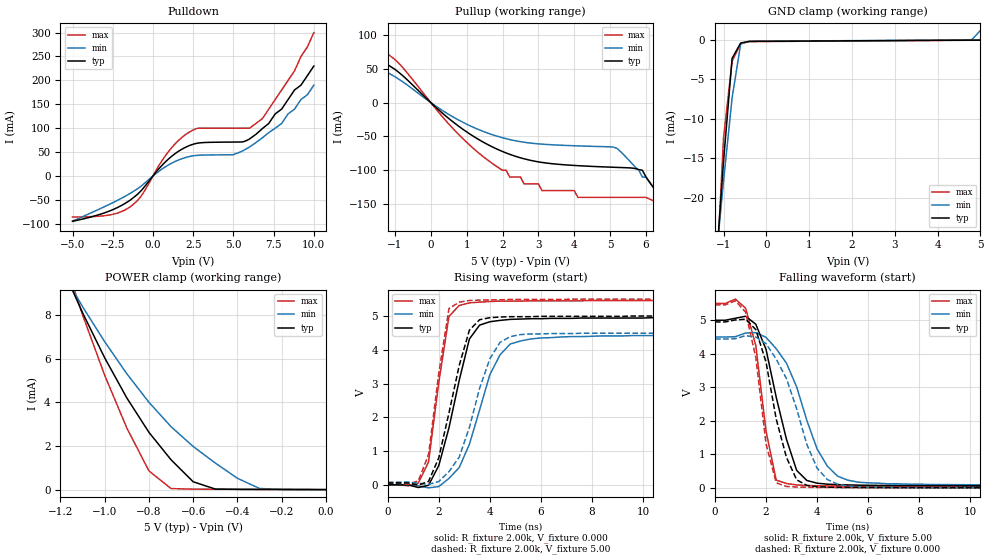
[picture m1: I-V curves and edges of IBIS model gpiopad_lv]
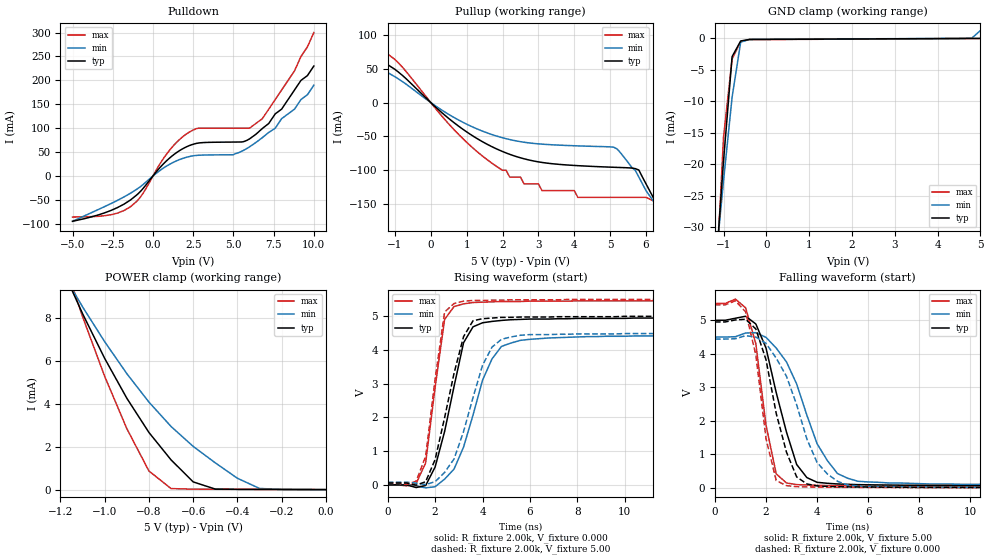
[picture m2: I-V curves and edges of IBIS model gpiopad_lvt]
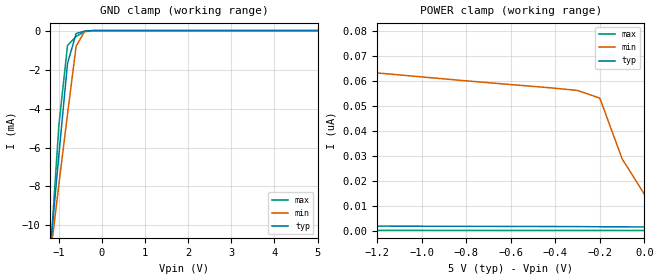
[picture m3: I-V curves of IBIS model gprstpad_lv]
| IBIS file m32a5m44.ibs created by s2ibis2 version 1.1
| North Carolina State University Electronics Research Laboratory  1995
[IBIS ver]   2.1
[File name]   m32a5m44.ibs
[File Rev]   1.0
[Date]   September 4, 2008
[Source]   Lars Snith
[Notes]   Property of Atmel Corporation
[Disclaimer] (C) Copyright ATMEL Norway 2006 Atmel Norway makes no warranty
                 for the use of its products, other than those explicitly
                 stated in the Company's standard warranty which is detailed in
                 Atmel's Terms and Conditions located on the Company's web
                 site. The Company assumes no responsibility for any errors
                 which may appear in this document. The user is granted this
                 license only to use the IBIS model and is not granted rights
                 to sell, load, rent, lease or license the IBIS model in whole
                 or in part, or in modified form to anyone other than user.
                 User may modify the IBIS model to suit its specific
                 applications but rights to derivative works and such
                 modifications shall belong to Atmel Norway. This IBIS model is
                 provided on an \"AS IS\" basis and Atmel Norway makes
                 absolutely no warranty with respect to the information
                 contained herein.
[Copyright]   Copyright (c) 2008 by ATMEL Norway
|   Component atmega32a_50_mlf44
[Component]   atmega32a_50_mlf44
[Manufacturer]   Atmel Corp.
[Package]
| variable   typ   min   max
R_pkg   10.20m   9.10m   11.30m
L_pkg   73.30pH   66.40pH   80.10pH
C_pkg   0.16pF   0.15pF   0.16pF
[Pin]  signal_name   model_name   R_pin   L_pin   C_pin
1   PB5   gpiopad_lv
| db5  db5   dummy
| enb5 enb5   dummy
2   PB6   gpiopad_lv
| db6  db6   dummy
| enb6 enb6   dummy
3   PB7   gpiopad_lv
| db7  db7   dummy
| enb7 enb7   dummy
4   RESET   gprstpad_lv
5   VCC   POWER
6   GND   GND
7   XTAL2   xtalpad_lv
| dx2  dx2   dummy
| enx2 enx2   dummy
8   XTAL1   xtalpad_lv
| dx1  dx1   dummy
| enx1 enx1   dummy
9   PD0   gpiopad_lv
| dd0  dd0   dummy
| end0 end0   dummy
10   PD1   gpiopad_lv
| dd1  dd1   dummy
| end1 end1   dummy
11   PD2   gpiopad_lv
| dd2  dd2   dummy
| end2 end2   dummy
12   PD3   gpiopad_lv
| dd3  dd3   dummy
| end3 end3   dummy
13   PD4   gpiopad_lv
| dd4  dd4   dummy
| end4 end4   dummy
14   PD5   gpiopad_lv
| dd5  dd5   dummy
| end5 end5   dummy
15   PD6   gpiopad_lv
| dd6  dd6   dummy
| end6 end6   dummy
16   PD7   gpiopad_lv
| dd7  dd7   dummy
| end7 end7   dummy
17   VCC   POWER
18   GND   GND
19   PC0   gpiopad_lvt
| dc0  dc0   dummy
| enc0 enc0   dummy
20   PC1   gpiopad_lvt
| dc1  dc1   dummy
| enc1 enc1   dummy
21   PC2   gpiopad_lv
| dc2  dc2   dummy
| enc2 enc2   dummy
22   PC3   gpiopad_lv
| dc3  dc3   dummy
| enc3 enc3   dummy
23   PC4   gpiopad_lv
| dc4  dc4   dummy
| enc4 enc4   dummy
24   PC5   gpiopad_lv
| dc5  dc5   dummy
| enc5 enc5   dummy
25   PC6   gpiopad_lv
| dc6  dc6   dummy
| enc6 enc6   dummy
26   PC7   gpiopad_lv
| dc7  dc7   dummy
| enc7 enc7   dummy
27   AVCC   POWER
28   GND   GND
29   AREF   gpiopad_aref_lv
| darefdaref   dummy
| enarfenarf   dummy
30   PA7   gpiopad_lv
| da7  da7   dummy
| ena7 ena7   dummy
31   PA6   gpiopad_lv
| da6  da6   dummy
| ena6 ena6   dummy
32   PA5   gpiopad_lv
| da5  da5   dummy
| ena5 ena5   dummy
33   PA4   gpiopad_lv
| da4  da4   dummy
| ena4 ena4   dummy
34   PA3   gpiopad_lv
| da3  da3   dummy
| ena3 ena3   dummy
35   PA2   gpiopad_lv
| da2  da2   dummy
| ena2 ena2   dummy
36   PA1   gpiopad_lv
| da1  da1   dummy
| ena1 ena1   dummy
37   PA0   gpiopad_lv
| da0  da0   dummy
| ena0 ena0   dummy
38   VCC   POWER
39   GND   GND
40   PB0   gpiopad_lv
| db0  db0   dummy
| enb0 enb0   dummy
41   PB1   gpiopad_lv
| db1  db1   dummy
| enb1 enb1   dummy
42   PB2   gpiopad_lv
| db2  db2   dummy
| enb2 enb2   dummy
43   PB3   gpiopad_lv
| db3  db3   dummy
| enb3 enb3   dummy
44   PB4   gpiopad_lv
| Models and submodels in the file (5): gpiopad_lv (I/O), gpiopad_aref_lv (I/O), gpiopad_lvt (I/O), gprstpad_lv (Input), xtalpad_lv (I/O)
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| db4  db4   dummy
| enb4 enb4   dummy
|   Model gpiopad_lv
[Model]   gpiopad_lv
Model_type   I/O
Polarity   Non-Inverting
Enable   Active-High
Vinl =   1.50V
Vinh =   3.50V
Vmeas =   2.50V
Cref =  50.00pF
C_comp   3.55pF   3.54pF   4.31pF
[Temperature Range]   27.00   0.12k   -55.00
[Voltage Range]   5.00V   4.50V   5.50V
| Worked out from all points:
|   slope of the pulldown table from 0 to 0.75 V, typ, clamps not added: 26.2 ohm
|   slope of the pullup table from 0 to 0.75 V, typ, clamps not added: 22.2 ohm
|   GND clamp passes 1 mA (typ) near -0.66 V on its own axis
|   POWER clamp passes 1 mA (typ) near -0.66 V on its own axis
|   rising waveform, R_fixture 2.00k, V_fixture 0.000: 20-80 % time 933ps typ, 1.18ns min, 603ps max; typ from 0 V to 4.95 V
|   rising waveform, R_fixture 2.00k, V_fixture 5.00: 20-80 % time 909ps typ, 1.08ns min, 592ps max; typ from 0.057 V to 5 V
|   falling waveform, R_fixture 2.00k, V_fixture 5.00: 20-80 % time 941ps typ, 1.3ns min, 612ps max; typ from 5 V to 0.057 V
|   falling waveform, R_fixture 2.00k, V_fixture 0.000: 20-80 % time 859ps typ, 1.23ns min, 617ps max; typ from 4.95 V to 0 V
[Pulldown]
| voltage   I(typ)   I(min)   I(max)
-5V       -94.5mA    -94.6mA    -85.7mA
-2.6V     -71.8mA    -57.4mA    -80.8mA
-1.4V     -50.05mA   -35.97mA   -64.18mA
-700mV    -29.29mA   -20.05mA   -40.23mA
1V        36.64mA    23.9mA     52.64mA
2.4V      65.41mA    41.71mA    94.55mA
5V        71.07mA    44.52mA    100mA
6V        77.53mA    60.79mA    100mA
6.8V      99.22mA    79.96mA    120mA
8V        140mA      110mA      180mA
8.8V      180mA      140mA      220mA
10V       230mA      190mA      300mA
[Pullup]
| voltage   I(typ)   I(min)   I(max)
-5V       99.3mA     100mA      110mA
-2.6V     88.73mA    77.59mA    110mA
-1.4V     62.89mA    50.2mA     79.87mA
1.2V      -50.22mA   -36.84mA   -68.26mA
2.2V      -76.41mA   -54.61mA   -110mA
3.1V      -88.42mA   -61.42mA   -130mA
5.2V      -95.77mA   -67.99mA   -140mA
5.9V      -100mA     -110mA     -140mA
6.4V      -140mA     -140mA     -150mA
6.8V      -180mA     -160mA     -190mA
7.2V      -210mA     -190mA     -240mA
10V       -470mA     -390mA     -580mA
[GND_clamp]
| voltage   I(typ)   I(min)   I(max)
-5V       -360mA     -280mA     -480mA
-1.2V     -30.57mA   -29.16mA   -33.8mA
-1V       -15.37mA   -17.91mA   -12.43mA
-800mV    -2.32mA    -7.33mA    -2.67mA
-600mV    -370uA     -500uA     -460uA
-400mV    -170uA     -150uA     -190uA
4.8V      -6.32uA    51.74uA    -22.75uA
5V        87.06pA    1.22mA     -16.25uA
[POWER_clamp]
| voltage   I(typ)   I(min)   I(max)
-5V       130mA      110mA      170mA
-1.2V     10.39mA    10.14mA    11.12mA
-1.1V     8.12mA     8.4mA      8.02mA
-1V       6.05mA     6.79mA     5.25mA
-900mV    4.21mA     5.32mA     2.83mA
-800mV    2.63mA     4.01mA     860uA
-700mV    1.37mA     2.89mA     47.57uA
-600mV    360uA      1.98mA     20.4uA
-500mV    24.2uA     1.22mA     16.27uA
-400mV    12.83uA    520uA      13uA
-300mV    9.49uA     51.74uA    9.75uA
0V        87.06pA    1.96nA     44.26pA
[Ramp]
| variable   typ   min   max
dV/dt_r   2.97/0.74n   2.66/1.13n   3.28/0.53n
dV/dt_f   2.97/0.76n   2.65/1.25n   3.27/0.52n
R_load = 2.00k
[Rising Waveform]
R_fixture = 2.00k
V_fixture = 0.000
V_fixture_min = 0.000
V_fixture_max = 0.000
| time   V(typ)   V(min)   V(max)
0s        0V         0V         0V
1.2ns     -79.63mV   -32.33mV   51.3mV
1.6ns     -13.46mV   -89.85mV   680mV
2.4ns     1.69V      190mV      4.99V
2.8ns     3.09V      510mV      5.31V
3.2ns     4.32V      1.2V       5.39V
3.6ns     4.73V      2.22V      5.41V
4ns       4.83V      3.26V      5.43V
4.8ns     4.9V       4.17V      5.44V
20ns      4.95V      4.44V      5.46V
[Rising Waveform]
R_fixture = 2.00k
V_fixture = 5.00
V_fixture_min = 4.50
V_fixture_max = 5.50
| time   V(typ)   V(min)   V(max)
0s        57.27mV    78.6mV     43.63mV
1.2ns     -8.37mV    49.36mV    120mV
1.6ns     100mV      10.17mV    900mV
2.4ns     2.13V      390mV      5.22V
2.8ns     3.53V      820mV      5.41V
3.2ns     4.58V      1.7V       5.46V
3.6ns     4.89V      2.86V      5.47V
4ns       4.95V      3.73V      5.48V
4.8ns     4.98V      4.39V      5.49V
20ns      5V         4.5V       5.5V
[Falling Waveform]
R_fixture = 2.00k
V_fixture = 5.00
V_fixture_min = 4.50
V_fixture_max = 5.50
| time   V(typ)   V(min)   V(max)
0s        5V         4.5V       5.5V
800ps     5.06V      4.51V      5.63V
1.2ns     5.12V      4.62V      5.36V
1.6ns     4.88V      4.63V      4.24V
2ns       4.13V      4.49V      1.69V
2.4ns     2.7V       4.15V      230mV
3.2ns     520mV      3.01V      86.61mV
4ns       140mV      1.16V      63.08mV
5.2ns     88.1mV     230mV      52.14mV
20ns      57.3mV     79.02mV    43.64mV
[Falling Waveform]
R_fixture = 2.00k
V_fixture = 0.000
V_fixture_min = 0.000
V_fixture_max = 0.000
| time   V(typ)   V(min)   V(max)
0s        4.95V      4.44V      5.46V
800ps     5.01V      4.45V      5.58V
1.2ns     5.03V      4.54V      5.24V
1.6ns     4.72V      4.5V       3.89V
2ns       3.75V      4.3V       1.31V
2.4ns     2.05V      3.84V      150mV
3.2ns     240mV      2.36V      23.96mV
4ns       33.39mV    590mV      13.18mV
4.8ns     16.61mV    110mV      8.57mV
20ns      32.64uV    180uV      8.98uV
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|   Model gpiopad_lvt
[Model]   gpiopad_lvt
Model_type   I/O
Polarity   Non-Inverting
Enable   Active-High
Vinl =   1.50V
Vinh =   3.50V
Vmeas =   2.50V
Cref =  50.00pF
C_comp   3.75pF   3.75pF   4.47pF
[Temperature Range]   27.00   0.12k   -55.00
[Voltage Range]   5.00V   4.50V   5.50V
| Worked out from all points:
|   slope of the pulldown table from 0 to 0.75 V, typ, clamps not added: 26.2 ohm
|   slope of the pullup table from 0 to 0.75 V, typ, clamps not added: 22.2 ohm
|   GND clamp passes 1 mA (typ) near -0.65 V on its own axis
|   POWER clamp passes 1 mA (typ) near -0.66 V on its own axis
|   rising waveform, R_fixture 2.00k, V_fixture 0.000: 20-80 % time 946ps typ, 1.23ns min, 614ps max; typ from 0 V to 4.94 V
|   rising waveform, R_fixture 2.00k, V_fixture 5.00: 20-80 % time 962ps typ, 1.16ns min, 607ps max; typ from 0.057 V to 4.99 V
|   falling waveform, R_fixture 2.00k, V_fixture 5.00: 20-80 % time 1.01ns typ, 1.39ns min, 643ps max; typ from 5 V to 0.063 V
|   falling waveform, R_fixture 2.00k, V_fixture 0.000: 20-80 % time 902ps typ, 1.29ns min, 645ps max; typ from 4.95 V to 0.006 V
[Pulldown]
| voltage   I(typ)   I(min)   I(max)
-5V       -94.6mA    -94.6mA    -85.7mA
-2.6V     -71.8mA    -57.4mA    -80.8mA
-1.4V     -50.1mA    -35.99mA   -64.29mA
-700mV    -29.3mA    -20.05mA   -40.24mA
1V        36.64mA    23.9mA     52.64mA
2.4V      65.41mA    41.71mA    94.55mA
5V        71.07mA    44.52mA    100mA
6V        77.61mA    61.01mA    100mA
6.8V      99.46mA    80.34mA    120mA
8V        140mA      120mA      180mA
8.8V      180mA      140mA      220mA
10V       230mA      190mA      300mA
[Pullup]
| voltage   I(typ)   I(min)   I(max)
-5V       99.3mA     100mA      110mA
-2.6V     88.73mA    77.55mA    110mA
-1.4V     62.89mA    50.2mA     79.88mA
1.2V      -50.22mA   -36.84mA   -68.26mA
2.2V      -76.41mA   -54.61mA   -110mA
3V        -87.58mA   -61mA      -120mA
3.1V      -88.42mA   -61.42mA   -130mA
5.2V      -95.77mA   -68.75mA   -140mA
5.8V      -99.56mA   -110mA     -140mA
6.4V      -160mA     -160mA     -150mA
6.8V      -200mA     -190mA     -200mA
10V       -560mA     -470mA     -680mA
[GND_clamp]
| voltage   I(typ)   I(min)   I(max)
-5V       -450mA     -350mA     -600mA
-1.2V     -38.45mA   -36.74mA   -42.39mA
-1V       -19.41mA   -22.59mA   -15.65mA
-800mV    -2.89mA    -9.31mA    -3.26mA
-600mV    -410uA     -600uA     -520uA
-400mV    -170uA     -160uA     -190uA
4.8V      -6.32uA    54.44uA    -22.75uA
5V        110pA      1.25mA     -16.25uA
[POWER_clamp]
| voltage   I(typ)   I(min)   I(max)
-5V       130mA      110mA      170mA
-1.2V     10.51mA    10.3mA     11.2mA
-1.1V     8.22mA     8.54mA     8.08mA
-1V       6.13mA     6.91mA     5.29mA
-900mV    4.27mA     5.42mA     2.85mA
-800mV    2.67mA     4.09mA     870uA
-700mV    1.39mA     2.95mA     47.86uA
-600mV    360uA      2.02mA     20.4uA
-500mV    24.73uA    1.25mA     16.27uA
-400mV    12.84uA    530uA      13uA
-300mV    9.49uA     54.44uA    9.75uA
0V        110pA      2.37nA     66.11pA
[Ramp]
| variable   typ   min   max
dV/dt_r   2.97/0.76n   2.66/1.19n   3.27/0.55n
dV/dt_f   2.96/0.83n   2.65/1.36n   3.27/0.55n
R_load = 2.00k
[Rising Waveform]
R_fixture = 2.00k
V_fixture = 0.000
V_fixture_min = 0.000
V_fixture_max = 0.000
| time   V(typ)   V(min)   V(max)
0s        0V         0V         0V
1.2ns     -78.05mV   -31.04mV   44.95mV
1.6ns     -18.21mV   -87.52mV   650mV
2.4ns     1.58V      170mV      4.9V
2.8ns     2.92V      470mV      5.28V
3.2ns     4.21V      1.12V      5.36V
3.6ns     4.68V      2.07V      5.4V
4.4ns     4.84V      3.73V      5.42V
5.2ns     4.89V      4.2V       5.43V
20ns      4.94V      4.43V      5.45V
[Rising Waveform]
R_fixture = 2.00k
V_fixture = 5.00
V_fixture_min = 4.50
V_fixture_max = 5.50
| time   V(typ)   V(min)   V(max)
0s        57.27mV    78.6mV     43.63mV
1.2ns     -7.34mV    50.48mV    110mV
1.6ns     94.49mV    11.6mV     850mV
2.4ns     1.99V      370mV      5.12V
2.8ns     3.31V      770mV      5.37V
3.2ns     4.39V      1.58V      5.44V
3.6ns     4.86V      2.59V      5.46V
4ns       4.92V      3.54V      5.46V
4.8ns     4.96V      4.31V      5.47V
20ns      4.99V      4.49V      5.5V
[Falling Waveform]
R_fixture = 2.00k
V_fixture = 5.00
V_fixture_min = 4.50
V_fixture_max = 5.50
| time   V(typ)   V(min)   V(max)
0s        5V         4.5V       5.5V
1.2ns     5.12V      4.62V      5.37V
1.6ns     4.89V      4.63V      4.3V
2ns       4.17V      4.49V      1.87V
2.4ns     2.84V      4.17V      420mV
2.8ns     1.67V      3.76V      150mV
3.2ns     700mV      3.1V       100mV
4ns       170mV      1.32V      78.75mV
5.6ns     100mV      200mV      62.99mV
20ns      63.2mV     88.06mV    47.76mV
[Falling Waveform]
R_fixture = 2.00k
V_fixture = 0.000
V_fixture_min = 0.000
V_fixture_max = 0.000
| time   V(typ)   V(min)   V(max)
0s        4.95V      4.44V      5.46V
1.2ns     5.03V      4.54V      5.25V
1.6ns     4.74V      4.5V       3.97V
2ns       3.82V      4.31V      1.47V
2.4ns     2.22V      3.87V      220mV
2.8ns     1.07V      3.33V      70.26mV
3.2ns     330mV      2.48V      39.2mV
4ns       61.91mV    760mV      28.53mV
5.2ns     33.5mV     86.1mV     19.17mV
20ns      5.75mV     8.8mV      4.05mV
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|   Model gprstpad_lv
[Model]   gprstpad_lv
Model_type   Input
Polarity   Non-Inverting
Vinl =   1.50V
Vinh =   3.50V
C_comp   0.87pF   0.79pF   1.21pF
[Temperature Range]   27.00   0.12k   -55.00
[Voltage Range]   5.00V   4.50V   5.50V
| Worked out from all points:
|   GND clamp passes 1 mA (typ) near -0.71 V on its own axis
[GND_clamp]
| voltage   I(typ)   I(min)   I(max)
-5V       -120mA     -88.57mA   -160mA
-1.2V     -11.23mA   -11.58mA   -11.55mA
-1V       -6.37mA    -7.89mA    -4.84mA
-800mV    -1.68mA    -4.28mA    -760uA
-600mV    -150uA     -800uA     -300uA
-400mV    -22.72uA   -25.17uA   -55.9uA
-200mV    -460nA     -720nA     -580nA
5V        1.72nA     57.83nA    280pA
[POWER_clamp]
| voltage   I(typ)   I(min)   I(max)
-5V       28.82uA    13.08uA    49.39uA
-3.1V     340nA      700nA      140nA
-3V       190nA      500nA      58.45nA
-2.9V     100nA      350nA      23.01nA
-2.7V     28.58nA    190nA      3.41nA
-2.6V     15.55nA    140nA      1.45nA
-2.2V     3.04nA     81.15nA    410pA
-1.7V     2.17nA     67.8nA     380pA
-300mV    1.84nA     56.22nA    310pA
-200mV    1.76nA     53.14nA    310pA
-100mV    1.74nA     28.91nA    300pA
0V        1.72nA     14.78nA    300pA
